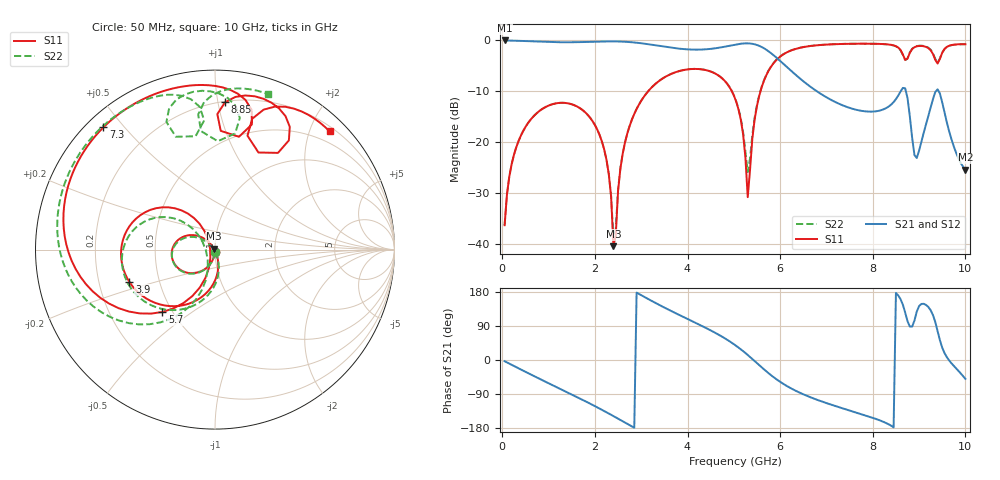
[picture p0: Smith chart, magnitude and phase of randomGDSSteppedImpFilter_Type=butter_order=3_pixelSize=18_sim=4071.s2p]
! freq	dB(S11)	phase(S11)	dB(S12)	phase(S12)
!  dB(S21)	phase(S21)	dB(S22)	phase(S22)
!S-par simulation data
#  GHz  S  DB  R 50
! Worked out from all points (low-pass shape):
!   200 points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, 50 MHz to 10 GHz, reference 50 ohm
!   highest |S21| = -0.01 dB at 50 MHz (marker M1); lowest = -25.4 dB at 10 GHz (marker M2)
!   |S21| within 3 dB of the highest: start of sweep to 5.871 GHz
!   lowest |S11| = -40.5 dB at 2.4 GHz (marker M3), VSWR 1.02, Z = 49.2 + j0.534 ohm
!   |S11| at or under -10 dB: start of sweep to 3.15 GHz; 4.957 GHz to 5.576 GHz (619.4 MHz wide, 11.8 % of centre)
!   |S22| runs from -39.0 to -0.6 dB; largest |S21 - S12| = 0
!   S11 on the Smith chart (normalised r, x): 50 MHz: 1.00, -0.03; 3.9 GHz: 0.33, -0.16; 5.7 GHz: 0.44, -0.39; 7.3 GHz: 0.05, +0.44; 8.85 GHz: 0.21, +1.05; 10 GHz: 0.28, +2.33
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0.05  -36.34 -93.0  -0.01 -3.2  -0.01 -3.2  -36.34 -92.9
0.2  -24.42 -102.8  -0.04 -12.6  -0.04 -12.6  -24.42 -102.5
0.55  -16.33 -125.2  -0.15 -34.3  -0.15 -34.3  -16.33 -124.2
1.75  -13.81 162.2  -0.32 -106.1  -0.32 -106.1  -13.82 165.7
2.2  -21.43 134.3  -0.20 -134.7  -0.20 -134.7  -21.43 140.3
2.35  -30.75 127.5  -0.19 -144.6  -0.19 -144.6  -30.64 139.1
2.4  -40.46 145.1  -0.19 -148.0  -0.19 -148.0  -38.97 165.2
2.7  -18.29 -82.6  -0.29 -168.5  -0.29 -168.5  -18.25 -80.3
3.4  -7.87 -128.8  -1.09 144.7  -1.09 144.7  -7.86 -123.6
3.9  -5.85 -159.4  -1.69 114.2  -1.69 114.2  -5.84 -152.6
5.05  -12.01 126.9  -0.79 37.4  -0.79 37.4  -11.94 140.1
5.3  -30.82 165.0  -0.57 13.2  -0.57 13.2  -25.90 -175.0
5.45  -15.50 -108.7  -0.76 -2.9  -0.76 -2.9  -15.17 -106.7
5.7  -6.86 -130.1  -1.82 -29.8  -1.82 -29.8  -6.79 -122.5
6.7  -1.04 158.9  -9.41 -100.5  -9.41 -100.5  -1.03 171.8
7.3  -0.70 132.4  -12.57 -125.6  -12.57 -125.6  -0.70 147.7
8.35  -0.80 89.8  -12.96 -170.1  -12.96 -170.1  -0.82 109.4
8.7  -3.84 78.0  -9.43 125.1  -9.43 125.1  -3.87 99.7
8.85  -1.70 86.1  -19.13 88.1  -19.13 88.1  -1.64 108.0
8.95  -1.16 78.8  -23.13 127.7  -23.13 127.7  -1.10 101.0
9.4  -4.54 65.9  -9.62 76.3  -9.62 76.3  -4.38 88.6
10  -0.75 45.9  -25.40 -49.7  -25.40 -49.7  -0.76 71.1
